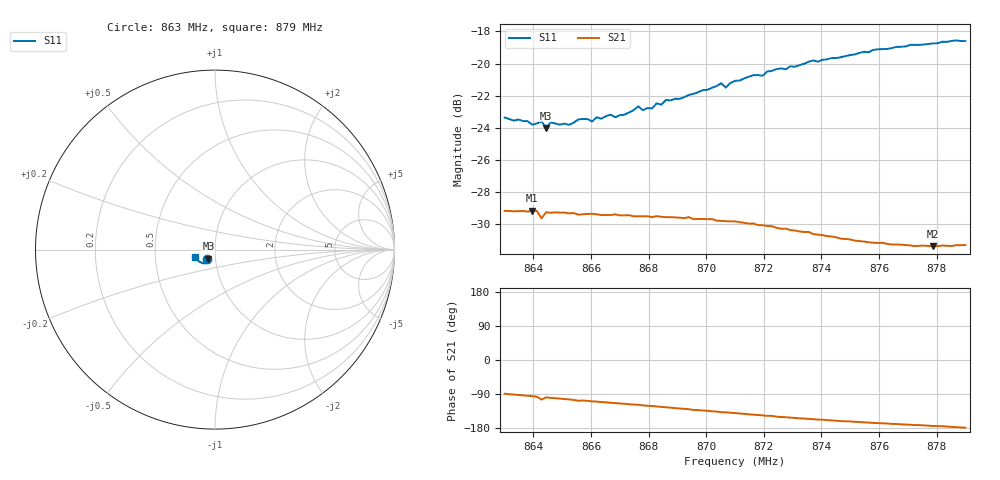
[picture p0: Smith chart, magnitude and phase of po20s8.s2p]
# HZ S RI R 50
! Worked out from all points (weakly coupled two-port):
!   101 points, 863 MHz to 879 MHz, reference 50 ohm
!   highest |S21| = -29.16 dB at 863.96 MHz (marker M1); lowest = -31.4 dB at 877.88 MHz (marker M2)
!   lowest |S11| = -24.0 dB at 864.44 MHz (marker M3), VSWR 1.13, Z = 46.2 - j4.77 ohm
!   |S11| at or under -10 dB: start of sweep to end of sweep
!   S12 and S22 are empty: the file has one direction only
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8.63e8  -0.0435 -0.0521  0.000584 -0.0348  0 0  0 0
8.6396e8  -0.0378 -0.0523  -0.00337 -0.0347  0 0  0 0
8.6412e8  -0.0388 -0.0522  -0.00413 -0.0345  0 0  0 0
8.6428e8  -0.0369 -0.0549  -0.00824 -0.0319  0 0  0 0
8.6444e8  -0.0365 -0.0514  -0.00515 -0.0341  0 0  0 0
8.646e8  -0.0374 -0.0539  -0.0059 -0.0338  0 0  0 0
8.6524e8  -0.0338 -0.0548  -0.00821 -0.0332  0 0  0 0
8.6572e8  -0.0346 -0.0576  -0.00981 -0.0325  0 0  0 0
8.6604e8  -0.0324 -0.0575  -0.0112 -0.0322  0 0  0 0
8.662e8  -0.035 -0.0584  -0.0115 -0.0319  0 0  0 0
8.6716e8  -0.0324 -0.0613  -0.0145 -0.0304  0 0  0 0
8.6764e8  -0.0347 -0.0649  -0.0158 -0.0295  0 0  0 0
8.678e8  -0.0339 -0.0631  -0.0166 -0.029  0 0  0 0
8.6844e8  -0.035 -0.0657  -0.0186 -0.0277  0 0  0 0
8.686e8  -0.0362 -0.0679  -0.0189 -0.0273  0 0  0 0
8.7052e8  -0.0462 -0.0736  -0.024 -0.0217  0 0  0 0
8.7068e8  -0.043 -0.0724  -0.0241 -0.0215  0 0  0 0
8.71e8  -0.0481 -0.0741  -0.0247 -0.0207  0 0  0 0
8.7372e8  -0.0684 -0.0761  -0.0269 -0.0119  0 0  0 0
8.7644e8  -0.0927 -0.0624  -0.0268 -0.00537  0 0  0 0
8.7788e8  -0.1042 -0.0502  -0.0269 -0.00275  0 0  0 0
8.79e8  -0.1106 -0.0398  -0.0272 -0.000659  0 0  0 0
